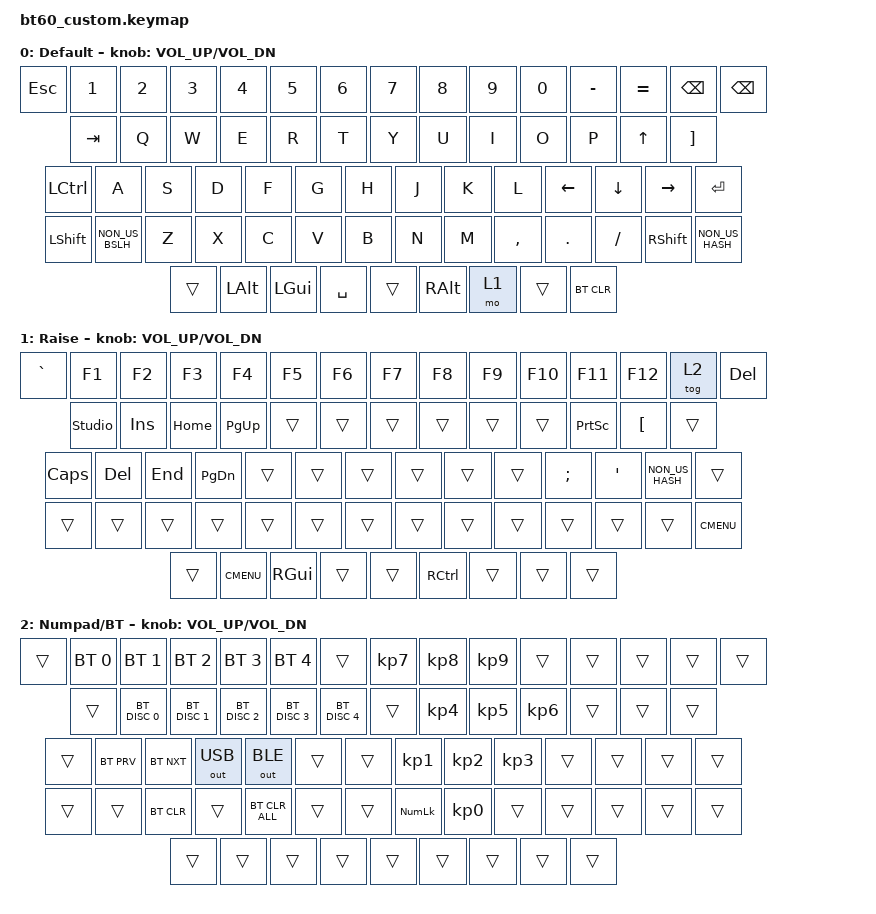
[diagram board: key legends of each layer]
#include <behaviors.dtsi>
#include <dt-bindings/zmk/keys.h>
#include <dt-bindings/zmk/bt.h>
#include <dt-bindings/zmk/outputs.h>

/ {
	keymap {
		compatible = "zmk,keymap";

		default_layer {
			display-name = "Default";
				// -----------------------------------------------------------------------------------------------
				// | ESC |  1  |  2  |  3  |  4  |  5  |  6  |  7  |  8  |  9  |  0  |  -  |  =  | PSCRN | BKSP  |
				// | TAB  |  Q  |  W  |  E  |  R  |  T  |  Y  |  U  |  I  |  O  |  P  |  [  |  ]  |              |
				// | CAPS  |  A  |  S  |  D  |  F  |  G  |  H  |  J  |  K  |  L  |  ;  |  '  |  #   |   ENTER    |
				// | SHIFT |  NUBS  |  Z  |  X  |  C  |  V  |  B  |  N  |  M  |  ,  |  .  | /   | SHIFT |  NUHS  | 
				// |  CTL  |  WIN  |  ALT  |                     SPACE            |   ALT   |  1  | MENU | CTRL  |
				// -----------------------------------------------------------------------------------------------
			bindings = <
				&kp ESC &kp N1 &kp N2 &kp N3 &kp N4 &kp N5 &kp N6 &kp N7 &kp N8 &kp N9 &kp N0 &kp MINUS &kp EQUAL &kp BSPC &kp BSPC
				&kp TAB &kp Q &kp W &kp E &kp R &kp T &kp Y &kp U &kp I &kp O &kp P &kp UP &kp RBKT
				&kp LCTRL &kp A &kp S &kp D &kp F &kp G &kp H &kp J &kp K &kp L &kp LEFT &kp DOWN &kp RIGHT &kp RET
				&kp LSHFT &kp NON_US_BSLH &kp Z &kp X &kp C &kp V &kp B &kp N &kp M &kp COMMA &kp DOT &kp FSLH &kp RSHFT &kp NON_US_HASH
				&trans &kp LALT &kp LGUI                    &kp SPACE                    &trans &kp RALT &mo 1 &trans &bt BT_CLR
			>;
			sensor-bindings = <&inc_dec_kp C_VOL_UP C_VOL_DN>;
		};
		raise {
			display-name = "Raise";
			bindings = <
				&kp GRAVE &kp F1 &kp F2 &kp F3 &kp F4 &kp F5 &kp F6 &kp F7 &kp F8 &kp F9 &kp F10 &kp F11 &kp F12 &tog 2 &kp DEL
				&studio_unlock &kp INS &kp HOME &kp PG_UP &trans &trans &trans &trans &trans &trans &kp PSCRN &kp LBKT &trans
				&kp CLCK &kp DEL &kp END &kp PG_DN &trans &trans &trans &trans &trans &trans &kp SEMI &kp SQT &kp NON_US_HASH &trans
				&trans &trans &trans &trans &trans &trans &trans &trans &trans &trans &trans &trans &trans &kp K_CMENU
				&trans &kp K_CMENU &kp RGUI                &trans                      &trans &kp RCTRL &trans &trans &trans
			>;
			sensor-bindings = <&inc_dec_kp C_VOL_UP C_VOL_DN>;
		};
		// numpad_bt (layer 2): toggle with Fn + the key between = and Backspace
		// Left hand = Bluetooth / output, right hand = numpad
		//   1 2 3 4 5     -> BT_SEL 0..4  (select / pair profile 1..5)
		//   Q W E R T     -> BT_DISC 0..4 (disconnect that profile, keeps pairing)
		//   A S           -> BT_PRV / BT_NXT (cycle profiles)
		//   D F           -> OUT_USB / OUT_BLE (choose output)
		//   Z             -> BT_CLR (unpair current profile)
		//   C             -> BT_CLR_ALL (wipe ALL profiles; X is left empty on purpose)
		//   7 8 9 / U I O / J K L / M -> numpad 7 8 9 / 4 5 6 / 1 2 3 / 0
		numpad_bt {
			display-name = "Numpad/BT";
			bindings = <
				&trans &bt BT_SEL 0 &bt BT_SEL 1 &bt BT_SEL 2 &bt BT_SEL 3 &bt BT_SEL 4 &trans &kp KP_N7 &kp KP_N8 &kp KP_N9 &trans &trans &trans &trans &trans
				&trans &bt BT_DISC 0 &bt BT_DISC 1 &bt BT_DISC 2 &bt BT_DISC 3 &bt BT_DISC 4 &trans &kp KP_N4 &kp KP_N5 &kp KP_N6 &trans &trans &trans
				&trans &bt BT_PRV &bt BT_NXT &out OUT_USB &out OUT_BLE &trans &trans &kp KP_N1 &kp KP_N2 &kp KP_N3 &trans &trans &trans &trans
				&trans &trans &bt BT_CLR &trans &bt BT_CLR_ALL &trans &trans &kp KP_NLCK &kp KP_N0 &trans &trans &trans &trans &trans
				&trans &trans &trans                    &trans                      &trans &trans &trans &trans &trans
			>;
			sensor-bindings = <&inc_dec_kp C_VOL_UP C_VOL_DN>;
		};

		// Empty layers that only exist in ZMK Studio builds; they give you
		// room to add layers 3 and 4 from the Studio UI.
		extra1 {
			status = "reserved";
		};
		extra2 {
			status = "reserved";
		};
	};
};

// &kp SQT -> Ä ä
// &kp LBKT -> Ü ü
// &kp SEMI -> Ö ö
// &sys_reset, &bootloader -> https://zmk.dev/docs/behaviors/reset
// layers -> https://zmk.dev/docs/behaviors/layers
// keycodes -> https://zmk.dev/docs/codes
// &bt BT_SEL 0 &bt BT_SEL 1 &bt BT_CLR &bt BT_PRV &bt BT_NXT
